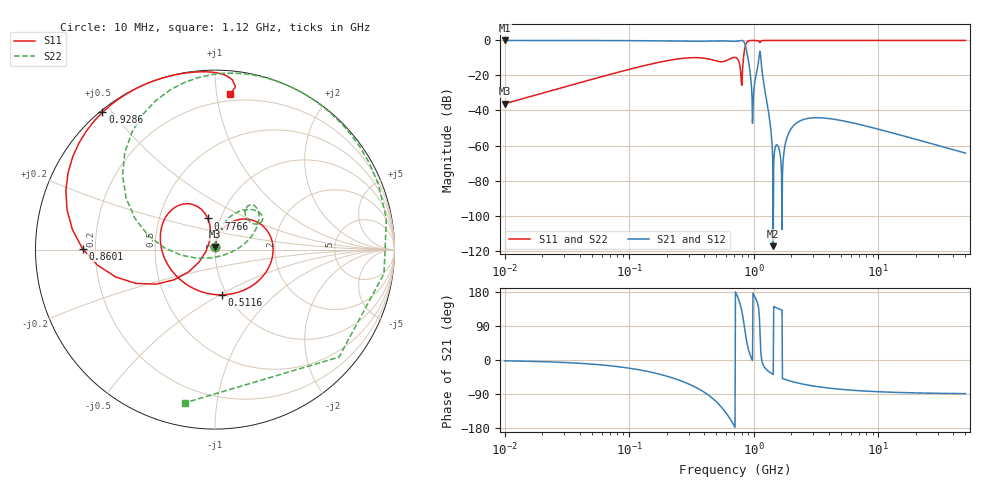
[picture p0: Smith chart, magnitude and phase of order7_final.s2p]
! Created with skrf 1.11.0 (http://scikit-rf.org).
# Hz S RI R 50.0
!freq ReS11 ImS11 ReS21 ImS21 ReS12 ImS12 ReS22 ImS22
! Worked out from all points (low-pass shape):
!   1001 points, 10 MHz to 50 GHz, reference 50 ohm
!   highest |S21| = 0.00 dB at 10 MHz (marker M1); lowest = -117.5 dB at 1.434 GHz (marker M2)
!   |S21| within 3 dB of the highest: start of sweep to 856.8 MHz
!   lowest |S11| = -36.1 dB at 10 MHz (marker M3), VSWR 1.03, Z = 50 + j1.56 ohm
!   |S11| at or under -10 dB: start of sweep to 290.4 MHz; 388 MHz to 665.2 MHz (277.2 MHz wide, 52.6 % of centre); 727 MHz to 826.9 MHz (99.94 MHz wide, 12.9 % of centre)
!   |S22| runs from -36.1 to 0.0 dB; largest |S21 - S12| = 8.1e-11
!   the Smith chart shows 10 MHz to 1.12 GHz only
!   S11 on the Smith chart (normalised r, x): 10 MHz: 1.00, +0.03; 511.6 MHz: 0.95, -0.51; 776.6 MHz: 0.87, +0.31; 860.1 MHz: 0.15, +0.00; 928.6 MHz: 0.01, +0.47; 1.12 GHz: 0.15, +1.09
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1e7  0.000693 0.0156  0.9992 -0.0379  0.9992 -0.0379  0.00049 0.0156
4.146942e7  0.0118 0.0632  0.9857 -0.1561  0.9857 -0.1561  0.00833 0.0637
1.719713e8  0.1632 0.1705  0.7788 -0.5812  0.7788 -0.5812  0.117 0.2049
3.257457e8  0.3224 0.0221  0.345 -0.8812  0.345 -0.8812  0.2517 0.2027
5.115925e8  0.0382 -0.2521  -0.3819 -0.8883  -0.3819 -0.8883  0.2092 0.1458
7.071068e8  -0.2486 0.2148  -0.9438 -0.035  -0.9438 -0.035  0.232 0.2326
7.765576e8  -0.0399 0.1733  -0.8353 0.5202  -0.8353 0.5202  0.1732 0.0407
8.172736e8  -0.1474 -0.1243  -0.4088 0.892  -0.4088 0.892  -0.1904 -0.0305
8.601245e8  -0.7382 0.0054  0.2718 0.6174  0.2718 0.6174  -0.5025 0.5408
9.2865e8  -0.627 0.7651  0.1406 0.0416  0.1406 0.0416  0.1094 0.9831
9.941314e8  -0.2895 0.9568  -0.0262 0.00277  -0.0262 0.00277  0.4833 0.8751
1.06423e9  -0.0257 0.9894  -0.1278 0.0638  -0.1278 0.0638  0.8065 0.5737
1.120029e9  0.0844 0.8658  0.0715 0.488  0.0715 0.488  -0.1674 -0.8537
1.168757e9  0.1456 0.9814  0.1247 -0.0117  0.1247 -0.0117  0.0398 0.9913
1.199005e9  0.2157 0.9743  0.062 -0.0168  0.062 -0.0168  0.3056 0.95
1.433836e9  0.5123 0.8588  1.05e-06 -8.25e-07  1.05e-06 -8.25e-07  0.7128 0.7013
1.548069e9  0.5948 0.8039  -0.000743 0.000706  -0.000743 0.000706  0.7725 0.635
1.685699e9  0.668 0.7442  -2.65e-06 2.99e-06  -2.65e-06 2.99e-06  0.8197 0.5728
1.998754e9  0.7738 0.6334  0.00169 -0.00253  0.00169 -0.00253  0.8818 0.4717
2.932331e9  0.9004 0.435  0.00231 -0.0057  0.00231 -0.0057  0.9497 0.3132
1.216021e10  0.9944 0.1052  0.000219 -0.00243  0.000219 -0.00243  0.9972 0.0741
5e10  0.9997 0.0256  1.32e-05 -0.000607  1.32e-05 -0.000607  0.9998 0.018
